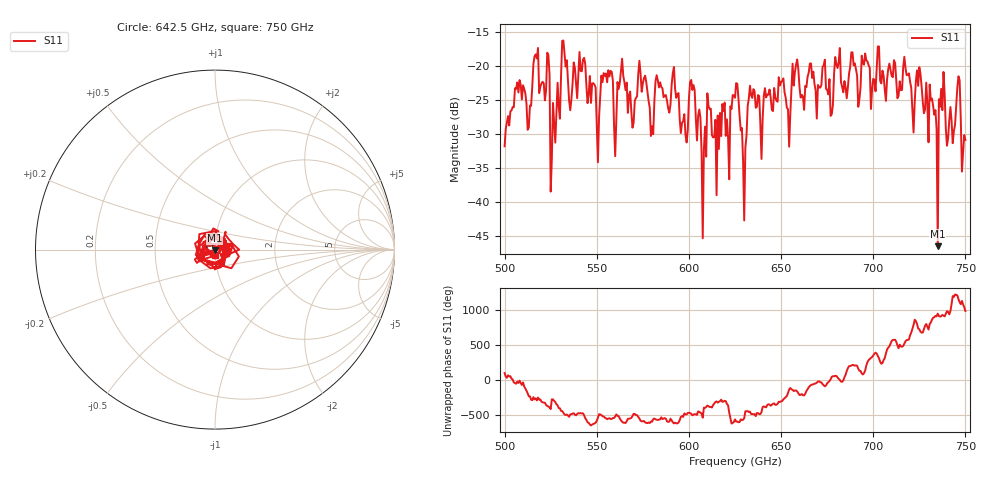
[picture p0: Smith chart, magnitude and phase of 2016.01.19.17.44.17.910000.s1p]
!Created with skrf (http://scikit-rf.org).
# GHz S RI R 50.0
!freq ReS11 ImS11
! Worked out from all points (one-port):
!   401 points, 500 GHz to 750 GHz, reference 50 ohm
!   lowest |S11| = -46.6 dB at 735 GHz (marker M1), VSWR 1.01, Z = 49.7 - j0.379 ohm
!   |S11| at or under -10 dB: start of sweep to end of sweep
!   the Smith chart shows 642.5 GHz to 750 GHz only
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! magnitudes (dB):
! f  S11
! 500 GHz  -31.9
! 506.9 GHz  -22.5
! 513.1 GHz  -29.1
! 516.9 GHz  -18.4
! 523.1 GHz  -18.1
! 526.2 GHz  -25.5
! 531.2 GHz  -16.4
! 550.6 GHz  -34.2
! 562.5 GHz  -22.5
! 579.4 GHz  -30.4
! 583.1 GHz  -22.2
! 593.8 GHz  -24.2
! 598.1 GHz  -30.2
! 601.9 GHz  -23.6
! 608.1 GHz  -32.4
! 611.2 GHz  -26.4
! 621.2 GHz  -30.6
! 625 GHz  -24.7
! 630 GHz  -42.8
! 633.8 GHz  -24.4
! 656.2 GHz  -19.7
! 687.5 GHz  -20.2
! 718.8 GHz  -21.4
! 735 GHz  -46.6
! 736.9 GHz  -23.4
! 740.6 GHz  -30.7
! 746.2 GHz  -21.6
! 750 GHz  -30.9
